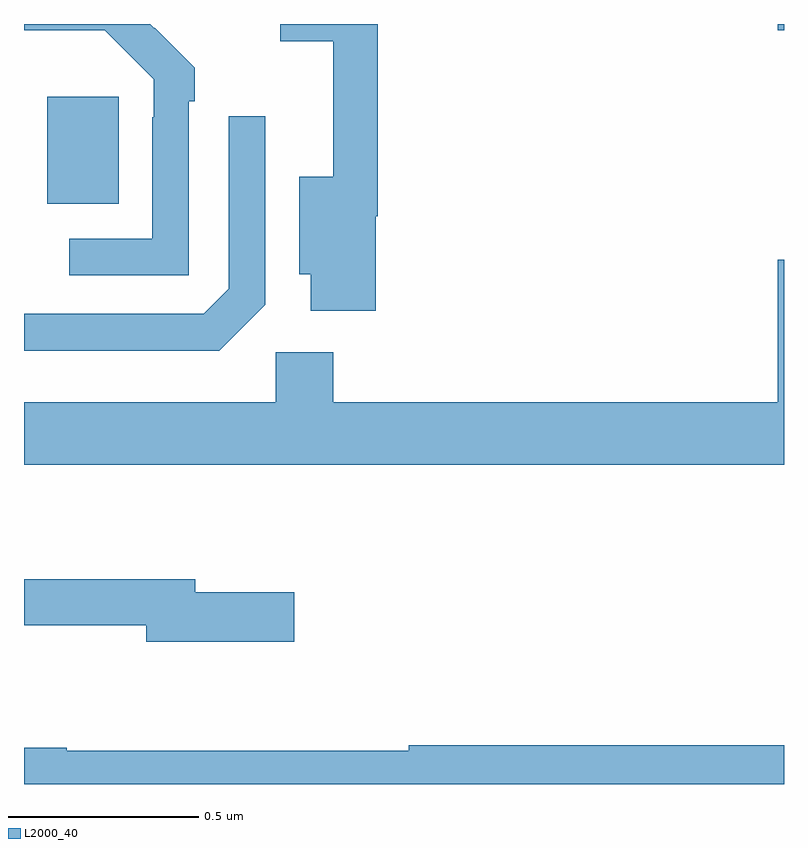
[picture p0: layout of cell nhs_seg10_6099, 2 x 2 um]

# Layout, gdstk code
import gdstk
lib = gdstk.Library(unit=1e-6, precision=1e-09)
def R(c, l, rs):  # rectangles x0, y0, x1, y1
    for r in rs: c.add(gdstk.rectangle(r[:2], r[2:], *l))
def P(c, l, *ps):  # polygons
    for p in ps: c.add(gdstk.Polygon(p, *l))
L2000_40 = (2000, 40)

nhs_seg10_6099 = lib.new_cell('nhs_seg10_6099')
R(nhs_seg10_6099, L2000_40, [(187.061,1277.027,187.249,1277.308), (188.984,1277.484,189,1277.5)])
P(nhs_seg10_6099, L2000_40, [(187.925,1276.994),(187.931,1276.994),(187.931,1277.5),(187.674,1277.5),(187.674,1277.454),(187.814,1277.454),(187.814,1277.098),(187.724,1277.098),(187.724,1276.841),(187.754,1276.841),(187.754,1276.746),(187.925,1276.746)],
  [(187.434,1277.297),(187.449,1277.297),(187.449,1277.385),(187.344,1277.49),(187.343,1277.489),(187.332,1277.5),(187,1277.5),(187,1277.484),(187.213,1277.484),(187.341,1277.355),(187.341,1277.255),(187.338,1277.255),(187.338,1276.935),(187.119,1276.935),(187.119,1276.839),(187.434,1276.839)],
  [(187.635,1276.761),(187.635,1277.257),(187.539,1277.257),(187.539,1276.803),(187.473,1276.737),(187,1276.737),(187,1276.64),(187.514,1276.64)],
  [(189,1276.879),(188.984,1276.879),(188.984,1276.504),(187.814,1276.504),(187.814,1276.636),(187.662,1276.636),(187.662,1276.504),(187,1276.504),(187,1276.34),(189,1276.34)],
  [(187.711,1276.005),(187.45,1276.005),(187.45,1276.039),(187,1276.039),(187,1275.918),(187.322,1275.918),(187.322,1275.875),(187.711,1275.875)],
  [(189,1275.602),(188.012,1275.602),(188.012,1275.587),(187.112,1275.587),(187.112,1275.595),(187,1275.595),(187,1275.5),(189,1275.5)])

lib.write_gds('nhs_seg10_6099.gds')
